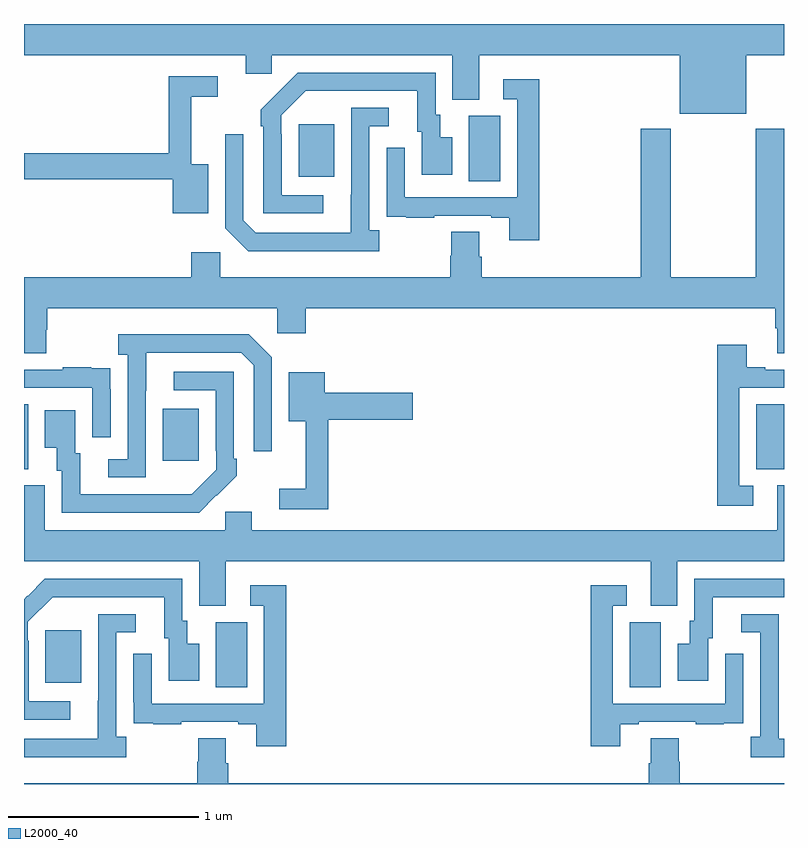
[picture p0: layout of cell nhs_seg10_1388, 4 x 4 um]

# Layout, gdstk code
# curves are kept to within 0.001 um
import gdstk
lib = gdstk.Library(unit=1e-6, precision=1e-09)
def R(c, l, rs):  # rectangles x0, y0, x1, y1
    for r in rs: c.add(gdstk.rectangle(r[:2], r[2:], *l))
def P(c, l, *ps):  # polygons
    for p in ps: c.add(gdstk.Polygon(p, *l))
L2000_40 = (2000, 40)

nhs_seg10_1388 = lib.new_cell('nhs_seg10_1388')
R(nhs_seg10_1388, L2000_40, [(184.01,1277.008,184.174,1277.352), (186.188,1277.008,186.352,1277.352), (183.113,1277.033,183.301,1277.308), (183,1278.157,183.022,1278.5), (186.854,1278.157,187,1278.5), (183.731,1278.201,183.919,1278.475), (185.342,1279.672,185.506,1280.016), (184.445,1279.697,184.633,1279.972)])
P(nhs_seg10_1388, L2000_40, [(186.802,1280.336),(187,1280.336),(187,1280.5),(183,1280.5),(183,1280.336),(184.166,1280.336),(184.166,1280.238),(184.305,1280.238),(184.305,1280.336),(185.255,1280.336),(185.255,1280.101),(185.395,1280.101),(185.395,1280.336),(186.452,1280.336),(186.452,1280.027),(186.802,1280.027)],
  [(184.576,1279.599),(184.356,1279.599),(184.356,1279.919),(184.353,1279.919),(184.353,1280.019),(184.482,1280.148),(185.069,1280.148),(185.069,1279.932),(185.093,1279.932),(185.093,1279.707),(185.254,1279.707),(185.254,1279.903),(185.191,1279.903),(185.191,1280.022),(185.166,1280.022),(185.166,1280.244),(184.442,1280.244),(184.245,1280.049),(184.245,1279.961),(184.26,1279.961),(184.26,1279.503),(184.576,1279.503)],
  [(183.97,1279.762),(183.881,1279.762),(183.881,1280.118),(184.021,1280.118),(184.021,1280.226),(183.763,1280.226),(183.763,1279.82),(183,1279.82),(183,1279.684),(183.783,1279.684),(183.783,1279.505),(183.97,1279.505)],
  [(185.711,1280.209),(185.523,1280.209),(185.523,1280.103),(185.595,1280.103),(185.595,1279.587),(185.004,1279.587),(185.004,1279.849),(184.908,1279.849),(184.908,1279.594),(184.909,1279.594),(184.909,1279.485),(185.011,1279.485),(185.011,1279.479),(185.159,1279.479),(185.159,1279.491),(185.459,1279.491),(185.459,1279.479),(185.555,1279.479),(185.555,1279.362),(185.711,1279.362)],
  [(184.87,1279.414),(184.818,1279.414),(184.818,1279.962),(184.921,1279.962),(184.921,1280.058),(184.722,1280.058),(184.721,1279.401),(184.221,1279.401),(184.155,1279.467),(184.155,1279.921),(184.059,1279.921),(184.059,1279.425),(184.18,1279.304),(184.87,1279.304)],
  [(183.117,1278.891),(183.122,1278.891),(183.122,1279.004),(184.332,1279.004),(184.332,1278.873),(184.484,1278.873),(184.484,1279.004),(186.953,1279.004),(186.953,1278.898),(186.965,1278.898),(186.965,1278.766),(187,1278.766),(187,1279.948),(186.85,1279.948),(186.85,1279.168),(186.405,1279.168),(186.405,1279.948),(186.245,1279.948),(186.245,1279.168),(185.408,1279.168),(185.408,1279.274),(185.395,1279.274),(185.395,1279.406),(185.248,1279.406),(185.248,1279.281),(185.243,1279.281),(185.243,1279.168),(184.032,1279.168),(184.032,1279.3),(183.881,1279.3),(183.881,1279.168),(183,1279.168),(183,1278.766),(183.117,1278.766)],
  [(183.642,1278.571),(183.643,1278.771),(184.143,1278.771),(184.209,1278.705),(184.209,1278.252),(184.305,1278.252),(184.305,1278.747),(184.184,1278.868),(183.495,1278.868),(183.495,1278.758),(183.546,1278.758),(183.546,1278.21),(183.444,1278.21),(183.444,1278.114),(183.642,1278.114)],
  [(186.838,1278.069),(186.765,1278.069),(186.765,1278.585),(187,1278.585),(187,1278.681),(186.901,1278.681),(186.901,1278.694),(186.805,1278.694),(186.805,1278.811),(186.649,1278.811),(186.649,1277.964),(186.838,1277.964)],
  [(183.456,1278.578),(183.455,1278.578),(183.455,1278.687),(183.353,1278.687),(183.353,1278.694),(183.205,1278.694),(183.205,1278.681),(183,1278.681),(183,1278.585),(183.36,1278.585),(183.36,1278.324),(183.456,1278.324)],
  [(184.013,1278.019),(184.014,1278.018),(184.119,1278.123),(184.119,1278.211),(184.104,1278.211),(184.104,1278.669),(183.789,1278.669),(183.789,1278.573),(184.008,1278.573),(184.008,1278.253),(184.011,1278.253),(184.011,1278.153),(183.883,1278.025),(183.295,1278.024),(183.295,1278.24),(183.271,1278.24),(183.271,1278.466),(183.11,1278.466),(183.11,1278.269),(183.173,1278.269),(183.173,1278.15),(183.198,1278.15),(183.198,1277.928),(183.922,1277.928)],
  [(184.601,1278.416),(185.047,1278.416),(185.047,1278.558),(184.582,1278.558),(184.582,1278.667),(184.394,1278.667),(184.394,1278.41),(184.484,1278.41),(184.484,1278.055),(184.344,1278.055),(184.344,1277.946),(184.601,1277.946)],
  [(184.063,1277.672),(186.299,1277.672),(186.299,1277.437),(186.439,1277.437),(186.439,1277.672),(187,1277.672),(187,1278.072),(186.965,1278.072),(186.965,1277.836),(184.198,1277.836),(184.198,1277.934),(184.059,1277.934),(184.059,1277.836),(183.109,1277.836),(183.109,1278.072),(183,1278.072),(183,1277.672),(183.923,1277.672),(183.923,1277.437),(184.063,1277.437)],
  [(186.601,1277.268),(186.625,1277.268),(186.625,1277.484),(187,1277.484),(187,1277.58),(186.528,1277.58),(186.528,1277.358),(186.503,1277.358),(186.503,1277.239),(186.44,1277.239),(186.44,1277.043),(186.601,1277.043)],
  [(183.244,1276.935),(183.024,1276.935),(183.024,1277.255),(183.021,1277.255),(183.021,1277.355),(183.15,1277.484),(183.737,1277.484),(183.737,1277.268),(183.761,1277.268),(183.761,1277.043),(183.922,1277.043),(183.922,1277.239),(183.859,1277.239),(183.859,1277.358),(183.834,1277.358),(183.834,1277.58),(183.11,1277.58),(183.019,1277.489),(183.018,1277.49),(183,1277.472),(183,1276.839),(183.244,1276.839)],
  [(186.139,1276.815),(186.235,1276.815),(186.235,1276.827),(186.535,1276.827),(186.535,1276.815),(186.683,1276.815),(186.683,1276.821),(186.785,1276.821),(186.785,1276.93),(186.786,1276.93),(186.786,1277.185),(186.69,1277.185),(186.69,1276.923),(186.099,1276.923),(186.099,1277.439),(186.172,1277.439),(186.172,1277.545),(185.983,1277.545),(185.983,1276.698),(186.139,1276.698)],
  [(184.379,1277.545),(184.191,1277.545),(184.191,1277.439),(184.263,1277.439),(184.263,1276.923),(183.672,1276.923),(183.672,1277.185),(183.576,1277.185),(183.576,1276.93),(183.577,1276.93),(183.577,1276.821),(183.679,1276.821),(183.679,1276.815),(183.827,1276.815),(183.827,1276.827),(184.127,1276.827),(184.127,1276.815),(184.223,1276.815),(184.223,1276.698),(184.379,1276.698)],
  [(183.538,1276.75),(183.486,1276.75),(183.486,1277.298),(183.589,1277.298),(183.589,1277.394),(183.39,1277.394),(183.39,1276.937),(183.389,1276.937),(183.389,1276.737),(183,1276.737),(183,1276.64),(183.538,1276.64)],
  [(187,1276.737),(186.972,1276.737),(186.972,1277.394),(186.774,1277.394),(186.774,1277.298),(186.876,1277.298),(186.876,1276.75),(186.825,1276.75),(186.825,1276.64),(187,1276.64)],
  [(187,1276.504),(186.452,1276.504),(186.452,1276.617),(186.447,1276.617),(186.447,1276.742),(186.299,1276.742),(186.299,1276.61),(186.287,1276.61),(186.287,1276.504),(184.076,1276.504),(184.076,1276.61),(184.063,1276.61),(184.063,1276.742),(183.916,1276.742),(183.916,1276.617),(183.911,1276.617),(183.911,1276.504),(183,1276.504),(183,1276.5),(187,1276.5)])

lib.write_gds('nhs_seg10_1388.gds')
